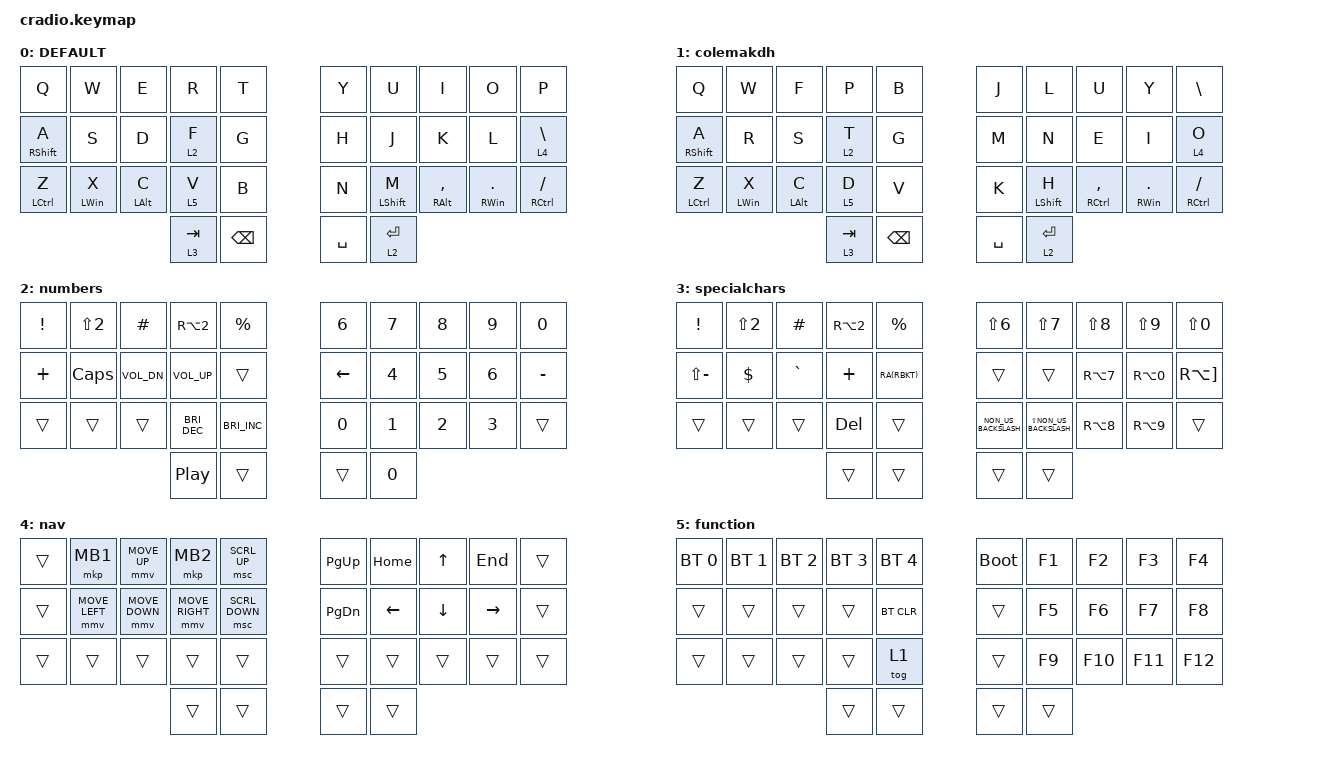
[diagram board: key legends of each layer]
// Copyright (c) 2022 The ZMK Contributors
// SPDX-License-Identifier: MIT

#define ZMK_POINTING_DEFAULT_MOVE_VAL 2500  // 600
#define ZMK_POINTING_DEFAULT_SCRL_VAL 20    // 10

#include <dt-bindings/zmk/mouse.h>
#include <behaviors/mouse_keys.dtsi>
#include <behaviors.dtsi>
#include "behaviors/character_map.dtsi"
#include "behaviors/send_string.dtsi"
#include "behaviors/report.dtsi"
#include <dt-bindings/zmk/bt.h>
#include <dt-bindings/zmk/keys.h>
#include <dt-bindings/zmk/outputs.h>
#include <dt-bindings/zmk/pointing.h>

#define MAC 0
#define WIN 1
#define RIG 2
#define LEF 3
#define TRI 4
#define MOUSE 5

&sk { quick-release; };


// https://zmk.dev/docs/development/hardware-integration/soft-off-setup?advanced-methods=wakeup&kscan-type=dkscan
/ {
    keys {
        compatible = "gpio-keys";
        soft_off_gpio_key: soft_off_gpio_key {
            gpios = <&gpio1 6 (GPIO_ACTIVE_LOW | GPIO_PULL_UP)>;
        };
    };
    wakeup_scan: wakeup_scan {
        compatible = "zmk,kscan-gpio-direct";
        input-keys = <&soft_off_gpio_key>;
        wakeup-source;
    };
    side_band_behavior_triggers: side_band_behavior_triggers {
        compatible = "zmk,kscan-sideband-behaviors";
        kscan = <&wakeup_scan>;
        auto-enable;
        wakeup-source;
    };
    soft_off_wakers {
        compatible = "zmk,soft-off-wakeup-sources";
        wakeup-sources = <&wakeup_scan>;
    };
};

/ {
    vbatt: vbatt {
        compatible = "zmk,battery-nrf-vddh";
    };
    chosen {
        zmk,charmap = &charmap_us;
        zmk,battery = &vbatt;
    };
    behaviors {
        ht: hold_tap {
            display-name = "hold_tap";
            compatible = "zmk,behavior-hold-tap";
            #binding-cells = <2>;
            flavor = "tap-preferred";
            tapping-term-ms = <200>;
            quick-tap-ms = <150>;
            bindings = <&kp>, <&kp>;
        };

        hold_preferred_ht: hold_preferred_ht {
            compatible = "zmk,behavior-hold-tap";
            label = "HOLD_PREFERRED_HT";
            bindings = <&kp>, <&kp>;
            flavor = "hold-preferred";
            #binding-cells = <2>;
            tapping-term-ms = <200>;
        };

        hold_preferred_lt: hold_preferred_lt {
            compatible = "zmk,behavior-hold-tap";
            label = "HOLD_PREFERRED_LT";
            bindings = <&mo>, <&kp>;
            flavor = "hold-preferred";
            #binding-cells = <2>;
            tapping-term-ms = <200>;
        };

        sk { quick-release; };

        mmv {
            acceleration-exponent = <1>;      // 1
            time-to-max-speed-ms = <300>;    // 40
            delay-ms = <0>;                   // 0
        };

        msc {
            acceleration-exponent = <0>;      // 0
            time-to-max-speed-ms = <40>;      // 500
            delay-ms = <0>;                   // 10
        };
    };

    conditional_layers { compatible = "zmk,conditional-layers"; };

    combos {
        compatible = "zmk,combos";

        escape {
            bindings = <&kp ESCAPE>;
            key-positions = <0 1>;
            timeout-ms = <25>;
        };

        caps_word {
            bindings = <&caps_word>;
            key-positions = <10 31 11>;
        };

        caps_letter {
            bindings = <&sk RIGHT_SHIFT>;
            key-positions = <10 31>;
        };

        undo {
            bindings = <&kp LC(Z)>;
            key-positions = <20 31>;
            timeout-ms = <25>;
        };

        aa {
            bindings = <&kp LEFT_BRACKET>;
            key-positions = <9 8>;
            timeout-ms = <25>;
        };

        oe {
            bindings = <&kp SEMICOLON>;
            key-positions = <7 8>;
            timeout-ms = <25>;
        };

        ae {
            bindings = <&kp SINGLE_QUOTE>;
            key-positions = <6 7>;
            timeout-ms = <25>;
        };

        l_aa {
            bindings = <&kp LEFT_BRACKET>;
            key-positions = <31 11>;
        };

        space {
            bindings = <&kp SPACE>;
            key-positions = <30 31>;
        };
    };

    keymap {
        compatible = "zmk,keymap";

        default_layer {
            display-name = "DEFAULT";
            bindings = <
&kp Q               &kp W           &kp E           &kp R                          &kp T            &kp Y      &kp U            &kp I            &kp O                 &kp P
&ht RIGHT_SHIFT A   &kp S           &kp D           &lt 2 F                        &kp G            &kp H      &kp J &kp K      &kp L       &lt 4 BSLH
&ht LCTRL Z         &ht LEFT_WIN X  &ht LEFT_ALT C  &lt 5 V  &kp B                 &kp N            &ht LEFT_SHIFT  M      &ht RIGHT_ALT COMMA        &ht RIGHT_WIN PERIOD            &ht RCTRL SLASH
                                                   &hold_preferred_lt 3 TAB                &kp BACKSPACE    &kp SPACE  &hold_preferred_lt 2 ENTER
            >;
        };

        colemakdh {
            bindings = <
&kp Q              &kp W           &kp F           &kp P           &kp B        &kp J      &kp L                 &kp U           &kp Y               &kp BSLH
&ht RIGHT_SHIFT A  &kp R           &kp S           &lt 2 T         &kp G        &kp M      &kp N      &kp E     &kp I     &lt 4 O
&ht LCTRL Z         &ht LEFT_WIN X  &ht LEFT_ALT C  &lt 5 D      &kp V      &kp K                 &ht LEFT_SHIFT H           &ht RCTRL COMMA        &ht RIGHT_WIN PERIOD            &ht RCTRL  SLASH
                                                   &hold_preferred_lt 3 TAB    &kp BACKSPACE    &kp SPACE  &hold_preferred_lt 2 ENTER
            >;
        };

        numbers {
            bindings = <
&kp EXCLAMATION  &kp LS(N2)  &kp HASH      &kp RA(NUMBER_2)      &kp PERCENT             &kp N6    &kp N7  &kp N8  &kp N9  &kp N0
&kp PLUS         &kp CAPS    &kp C_VOL_DN  &kp C_VOL_UP          &trans                  &kp LEFT  &kp N4  &kp N5  &kp N6  &kp MINUS
&trans           &trans      &trans        &kp C_BRIGHTNESS_DEC  &kp C_BRIGHTNESS_INC    &kp N0    &kp N1  &kp N2  &kp N3  &trans
                                           &kp C_PLAY_PAUSE      &trans                  &trans    &kp N0
            >;
        };

        specialchars {
            bindings = <
&kp EXCL       &kp LS(N2)  &kp HASH   &kp RA(N2)  &kp PERCENT    &kp LS(N6)            &kp LS(N7)                &kp LS(N8)  &kp LS(N9)  &kp LS(N0)
&kp LS(MINUS)  &kp DLLR    &kp GRAVE  &kp PLUS    &RA(RBKT)         &trans                &trans                    &kp RA(N7)  &kp RA(N0)  &kp RA(RBKT)
&trans         &trans      &trans     &kp DELETE  &trans         &kp NON_US_BACKSLASH  &kp LS(NON_US_BACKSLASH)  &kp RA(N8)  &kp RA(N9)  &trans
                                      &trans      &trans         &trans                &trans
            >;
        };

        nav {
            bindings = <
&trans  &mkp MB1        &mmv MOVE_UP    &mkp MB2         &msc SCRL_UP      &kp PAGE_UP    &kp HOME        &kp UP_ARROW    &kp END          &trans
&trans  &mmv MOVE_LEFT  &mmv MOVE_DOWN  &mmv MOVE_RIGHT  &msc SCRL_DOWN    &kp PAGE_DOWN  &kp LEFT_ARROW  &kp DOWN_ARROW  &kp RIGHT_ARROW  &trans
&trans  &trans          &trans          &trans           &trans            &trans         &trans          &trans          &trans           &trans
                                        &trans           &trans            &trans         &trans
            >;
        };

        function {
            bindings = <
&bt BT_SEL 0  &bt BT_SEL 1  &bt BT_SEL 2  &bt BT_SEL 3  &bt BT_SEL 4    &bootloader    &kp F1  &kp F2   &kp F3   &kp F4
&trans        &trans        &trans        &trans        &bt BT_CLR      &trans         &kp F5  &kp F6   &kp F7   &kp F8
&trans        &trans        &trans        &trans        &tog 1          &trans         &kp F9  &kp F10  &kp F11  &kp F12
                                          &trans        &trans          &trans  &trans
            >;
        };
    };
};
